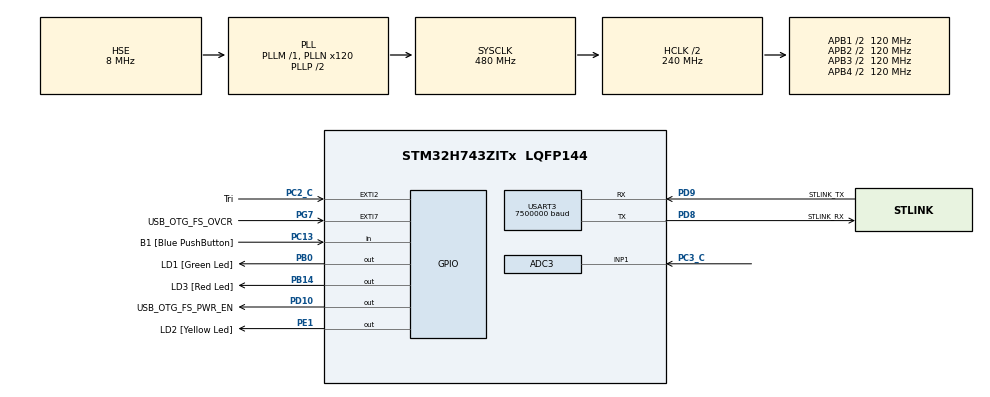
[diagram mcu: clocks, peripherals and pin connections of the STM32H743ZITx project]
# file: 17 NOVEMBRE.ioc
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ADC3.Channel-0\#ChannelRegularConversion=ADC_CHANNEL_1
ADC3.ExternalTrigConv=ADC_EXTERNALTRIG_T6_TRGO
ADC3.NbrOfConversionFlag=1
ADC3.OffsetNumber-0\#ChannelRegularConversion=ADC_OFFSET_NONE
ADC3.OffsetSignedSaturation-0\#ChannelRegularConversion=DISABLE
ADC3.Rank-0\#ChannelRegularConversion=1
ADC3.SamplingTime-0\#ChannelRegularConversion=ADC_SAMPLETIME_1CYCLE_5
Dma.ADC3.0.Direction=DMA_PERIPH_TO_MEMORY
Dma.ADC3.0.EventEnable=DISABLE
Dma.ADC3.0.FIFOMode=DMA_FIFOMODE_DISABLE
Dma.ADC3.0.Instance=DMA2_Stream0
Dma.ADC3.0.MemDataAlignment=DMA_MDATAALIGN_HALFWORD
Dma.ADC3.0.MemInc=DMA_MINC_ENABLE
Dma.ADC3.0.Mode=DMA_NORMAL
Dma.ADC3.0.PeriphDataAlignment=DMA_PDATAALIGN_HALFWORD
Dma.ADC3.0.PeriphInc=DMA_PINC_DISABLE
Dma.ADC3.0.Polarity=HAL_DMAMUX_REQ_GEN_RISING
Dma.ADC3.0.Priority=DMA_PRIORITY_VERY_HIGH
Dma.ADC3.0.RequestNumber=1
Dma.ADC3.0.SignalID=NONE
Dma.ADC3.0.SyncEnable=DISABLE
Dma.ADC3.0.SyncPolarity=HAL_DMAMUX_SYNC_NO_EVENT
Dma.ADC3.0.SyncRequestNumber=1
Dma.ADC3.0.SyncSignalID=NONE
Dma.Request0=ADC3
Dma.Request1=USART3_TX
Dma.USART3_TX.1.Direction=DMA_MEMORY_TO_PERIPH
Dma.USART3_TX.1.EventEnable=DISABLE
Dma.USART3_TX.1.FIFOMode=DMA_FIFOMODE_DISABLE
Dma.USART3_TX.1.Instance=DMA1_Stream3
Dma.USART3_TX.1.MemDataAlignment=DMA_MDATAALIGN_BYTE
Dma.USART3_TX.1.MemInc=DMA_MINC_ENABLE
Dma.USART3_TX.1.Mode=DMA_NORMAL
Dma.USART3_TX.1.PeriphDataAlignment=DMA_PDATAALIGN_BYTE
Dma.USART3_TX.1.PeriphInc=DMA_PINC_DISABLE
Dma.USART3_TX.1.Polarity=HAL_DMAMUX_REQ_GEN_RISING
Dma.USART3_TX.1.Priority=DMA_PRIORITY_LOW
Dma.USART3_TX.1.RequestNumber=1
Dma.USART3_TX.1.SignalID=NONE
Dma.USART3_TX.1.SyncEnable=DISABLE
Dma.USART3_TX.1.SyncPolarity=HAL_DMAMUX_SYNC_NO_EVENT
Dma.USART3_TX.1.SyncRequestNumber=1
Dma.USART3_TX.1.SyncSignalID=NONE
Mcu.Family=STM32H7
Mcu.Name=STM32H743ZITx
Mcu.Package=LQFP144
NVIC.ADC3_IRQn=true\:0\:0\:false\:false\:true\:true\:true
NVIC.DMA1_Stream3_IRQn=true\:0\:0\:false\:false\:true\:false\:true
NVIC.DMA2_Stream0_IRQn=true\:0\:0\:false\:false\:true\:false\:true
NVIC.EXTI2_IRQn=true\:0\:0\:false\:false\:true\:true\:true
NVIC.PriorityGroup=NVIC_PRIORITYGROUP_4
NVIC.TIM6_DAC_IRQn=true\:0\:0\:false\:false\:true\:true\:true
NVIC.USART3_IRQn=true\:0\:0\:false\:false\:true\:true\:true
PA1.Signal=ETH_REF_CLK
PA11.Signal=USB_OTG_FS_DM
PA12.Signal=USB_OTG_FS_DP
PA2.Signal=ETH_MDIO
PA7.Signal=ETH_CRS_DV
PA8.Signal=USB_OTG_FS_SOF
PA9.Signal=USB_OTG_FS_VBUS
PB0.GPIO_Label=LD1 [Green Led]
PB0.Signal=GPIO_Output
PB13.Signal=ETH_TXD1
PB14.GPIO_Label=LD3 [Red Led]
PB14.Signal=GPIO_Output
PC1.Signal=ETH_MDC
PC13.GPIO_Label=B1 [Blue PushButton]
PC13.Signal=GPIO_Input
PC14-OSC32_IN\ (OSC32_IN).Mode=LSE-External-Oscillator
PC14-OSC32_IN\ (OSC32_IN).Signal=RCC_OSC32_IN
PC15-OSC32_OUT\ (OSC32_OUT).Mode=LSE-External-Oscillator
PC15-OSC32_OUT\ (OSC32_OUT).Signal=RCC_OSC32_OUT
PC2_C.GPIO_Label=Tri
PC2_C.Signal=GPXTI2
PC3_C.Mode=IN1-Single-Ended
PC3_C.Signal=ADC3_INP1
PC4.Signal=ETH_RXD0
PC5.Signal=ETH_RXD1
PD10.GPIO_Label=USB_OTG_FS_PWR_EN
PD10.Signal=GPIO_Output
PD8.GPIO_Label=STLINK_RX
PD8.Mode=Asynchronous
PD8.Signal=USART3_TX
PD9.GPIO_Label=STLINK_TX
PD9.Mode=Asynchronous
PD9.Signal=USART3_RX
PE1.GPIO_Label=LD2 [Yellow Led]
PE1.Signal=GPIO_Output
PG11.Signal=ETH_TX_EN
PG13.Signal=ETH_TXD0
PG7.GPIO_Label=USB_OTG_FS_OVCR
PG7.Signal=GPXTI7
PH0-OSC_IN\ (PH0).Mode=HSE-External-Clock-Source
PH0-OSC_IN\ (PH0).Signal=RCC_OSC_IN
PH1-OSC_OUT\ (PH1).Signal=RCC_OSC_OUT
ProjectManager.HeapSize=0x200
ProjectManager.StackSize=0x400
ProjectManager.TargetToolchain=MDK-ARM V5.32
RCC.ADCFreq_Value=75000000
RCC.APB1Freq_Value=120000000
RCC.APB2Freq_Value=120000000
RCC.APB3Freq_Value=120000000
RCC.APB4Freq_Value=120000000
RCC.CortexFreq_Value=480000000
RCC.D1PPRE=RCC_APB3_DIV2
RCC.D2PPRE1=RCC_APB1_DIV2
RCC.D2PPRE2=RCC_APB2_DIV2
RCC.D3PPRE=RCC_APB4_DIV2
RCC.DIVM1=1
RCC.DIVM2=1
RCC.DIVN1=120
RCC.DIVN2=18
RCC.DIVQ1=4
RCC.HCLKFreq_Value=240000000
RCC.HPRE=RCC_HCLK_DIV2
RCC.HSE_VALUE=8000000
RCC.PLL2FRACN=6144
RCC.PLLFRACN=0
RCC.PLLSourceVirtual=RCC_PLLSOURCE_HSE
RCC.PWR_Regulator_Voltage_Scale=PWR_REGULATOR_VOLTAGE_SCALE0
RCC.SYSCLKFreq_VALUE=480000000
RCC.SYSCLKSource=RCC_SYSCLKSOURCE_PLLCLK
RCC.USBFreq_Value=240000000
TIM6.Period=10
TIM6.TIM_MasterOutputTrigger=TIM_TRGO_UPDATE
USART3.BaudRate=7500000
USART3.VirtualMode-Asynchronous=VM_ASYNC
VP_TIM6_VS_ClockSourceINT.Mode=Enable_Timer
board=NUCLEO-H743ZI2

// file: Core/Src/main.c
/* USER CODE BEGIN Header */
/**
  ******************************************************************************
  * @file           : main.c
  * @brief          : Main program body
  ******************************************************************************
  * @attention
  *
  * <h2><center>&copy; Copyright (c) 2021 STMicroelectronics.
  * All rights reserved.</center></h2>
  *
  * This software component is licensed by ST under BSD 3-Clause license,
  * the "License"; You may not use this file except in compliance with the
  * License. You may obtain a copy of the License at:
  *                        opensource.org/licenses/BSD-3-Clause
  *
  ******************************************************************************
  */
/* USER CODE END Header */
#include "main.h"
#include "adc.h"
#include "dma.h"
#include "tim.h"
#include "usart.h"
#include "gpio.h"

void SystemClock_Config(void);

/* USER CODE BEGIN 0 */

/*int ts_data[50];															// VETTORE CHE MEMORIZZA I CODICI MISURATI DAL MICRO
#define TCAL1 *(uint16_t*)(0x1FF1E820)				// COSTANTE MISURATA IN FABBRICA A T=30°C
#define TCAL2 *(uint16_t*)(0x1FF1E840)				// COSTANTE MISURATA IN FABBRICA A T=110°C
int temperatura_mC[50];												// VETTORE CHE CONTIENE I DATI CONVERTITI IN TEMPERATURE IN GRADI °C

#define VREFINT_C *(uint16_t*)(0x1FF1E860)		// CODICE PRECISIO MISURATO IN FABBRICA A T=30°C, VDDA=3.3V
#define VREF_PRECISA 3300											// COSTANTE = 3300mV
int v_ref_cal[50];														// VETTORE CHE CONTIENE LE ALIMENTAZIONI REALE CHE IL MICRO RICEVE ~3,3V
int codici[50];																// VETTORE CHE CONTIENE I CODICI MISURATI DAL MICRO; NUMERO PROPORZIONALE ALLA TENSIONE
int tensione_milliV[50];											// VETTORE CHE CONTIENE LA TENSIONE INTERNA IN MILLIVOLT (RISULTATO DELLA CONVERSIONE DEI CODICI)
*/
int  n_mis = 100;																// NNUMERO DI VOLTE CHE RIPETIAMO LE MISURE
volatile int indice = 0;											// INIZIALIZZAZIONE DELL'INDICE
int soglia =20000;
uint16_t salvataggio;
volatile uint16_t DMA_ADC_vett[101];								// DICHIARIAMO IL VETTORE IN CUI MEMORIZZIAMO I DATI PER LA DMA

//int c1 =
uint16_t posizione = 0;
volatile uint16_t soglia_sup = 0;
volatile uint16_t pre_trigger=10;
volatile  uint16_t post_trigger=90;
uint8_t *puntatore;
//PER TRASMISSIONE A MATLAB
//uint8_t *puntatore_temp;
//uint8_t *puntatore_mvolt;
/*
#define TCAL1 *(uint16_t*)(0x1FF1E820)				// COSTANTE MISURATA IN FABBRICA A T=30°C
#define TCAL2 *(uint16_t*)(0x1FF1E840)				// COSTANTE MISURATA IN FABBRICA A T=110°C
uint16_t a = 0;
uint16_t b = 0;
*/
uint8_t* puntatore_c1;
uint8_t* puntatore_c2;

/* USER CODE END 0 */

int main(void)
{

  /* MCU Configuration--------------------------------------------------------*/

  /* Reset of all peripherals, Initializes the Flash interface and the Systick. */
  HAL_Init();

  /* Configure the system clock */
  SystemClock_Config();

  /* Initialize all configured peripherals */
  MX_GPIO_Init();
  MX_DMA_Init();
  MX_ADC3_Init();
  MX_TIM6_Init();
  MX_USART3_UART_Init();
  /* USER CODE BEGIN 2 */

	//PER LA TRASMISSIONE A MATLAB  -  ATTIVAZIONE DI TRASMISSIOE E RICEZIONE DELLA USART3
	USART3->CR1 |= USART_CR1_TE;			//BISOGNA METTERE OR PERCHE' COSI' VIENE MODIFICATO SOLO IL PIN DI TE IN CR1
	USART3->CR1 |= USART_CR1_RE;			//ALTRIMENTI VENGONO MESSI TUTTI A ZERO E UNO SU TE
	USART3->CR1 |= USART_CR1_UE;
	USART3->CR1 |= USART_CR1_RXNEIE;
//	USART3->CR1 |= USART_CR1_TCIE;

	//puntatore_temp = (uint8_t*) temperatura_mC;					// ASSEGNIAMO AI PUNTATORI L'INDIRIZZO DEI VETTORI
	//puntatore_mvolt = (uint8_t*) tensione_milliV;

	//PER L'ADC
//TEMPERATURA TENSIONE
/*	ADC3->SQR1 |= (18 << ADC_SQR1_SQ1_Pos) | (19 << ADC_SQR1_SQ2_Pos);		//INDICHIAMO QUALE CANALE (19, 18) VOGLIAMO LEGGERE IN QUALE REGISTRO (SQ1, SQ2)
	ADC3->SQR1 |= (1 << ADC_SQR1_L_Pos);																	//INDICHIAMO, NEL CAMPO L DI SQR1, IL NUMERO DI NODI CHE IL MICROCONTROLLORE DEVE LEGGERE (2)
	ADC3->PCSEL |= ADC_PCSEL_PCSEL_19 | ADC_PCSEL_PCSEL_18;								//INDICHIAMO QUALI CANALI STIAMO LEGGENDO NEL REGISTRO PCSEL (19 E 18)
	ADC3_COMMON->CCR |= 8<<ADC_CCR_PRESC_Pos;
*/
//OSCILLOSCOPIO
	ADC3->SQR1 = 0;
	ADC3->SQR1 |= (1 << ADC_SQR1_SQ1_Pos);
	ADC3->SQR1 |= (0 << ADC_SQR1_L_Pos);
	ADC3->PCSEL |= ADC_PCSEL_PCSEL_0;
	ADC3_COMMON->CCR |= 0<<ADC_CCR_PRESC_Pos;
	ADC3->CFGR |= (3<<ADC_CFGR_DMNGT_Pos);			//INIZIA L'ATTIVITA' DELL'ADC E PASSA I DATI AL DMA; 3 PER IL BUFFER CIRCOLARE, 1  PER MODALITA' NORMALE

	//CALIBRAZIONE E ATTIVAZIONE DELL'ADC
	ADC3->CR &= ~ADC_CR_ADCALDIF;			//ADCALDIF = 0 PER MISURA ENDED, ADCALDIF = 1 PER MISURA DIFFERENZIALE
	ADC3->CR |= ADC_CR_ADCALLIN;			//ADCALLIN = 1 PER AVERE CALIBRAZIONE LINEARE OLTRE CHE OFFSET, = 0 SE NON LA SI VUOLE. CONSIGLIATO 1
	ADC3->CR &= ~ADC_CR_ADEN;					//CON ADEN = 0 L'ADC NON E' ABILITATO
	ADC3->CR |= ADC_CR_ADCAL;					//ADCAL = 1 INIZIA LA CALIBRAZIONE, DIVENTA 0 QUANDO LA CALIBRAZIONE E' TERMINATA

	//ADC3_COMMON->CCR |= ADC_CCR_TSEN;  	  //ATTIVIAMO IL SENSORE DI TEMPERATURA
	//ADC3_COMMON->CCR |= ADC_CCR_VREFEN;		//ATTIVIAMO IL SENSORE DELLA VEREF_IN

	while ((ADC3->CR & ADC_CR_ADCAL)){		//FINCHE' SI STA CALIBRANDO
			//ASPETTA
	}

	ADC3->ISR |= ADC_ISR_ADRDY;				//AZZERIAMO IL BIT ADRDY SCRIVENDOGLI 1
	if ((ADC3->CR & ADC_CR_ADCAL) == 0){
				ADC3->CR |= ADC_CR_ADEN;				//ABILITA L'ADC
	}
	while ((ADC3->ISR & ADC_ISR_ADRDY) == 0){    //FINCHE' ADRDY == 0			ADC3->ISR & ADC_ISR_ADRDY = 1 SE IL BIT E' 1, = 0 SE IL BIT E' 0
			//ASPETTA
	}
	ADC3->ISR |= ADC_ISR_ADRDY;

	// ATTIVAZIONE DELL'INTERRUPT
//	ADC3->IER = ADC_IER_EOCIE;				//ABILITIAMO L'INTERRUPT
	ADC3->IER = ADC_IER_EOCIE;

	//IMPOSTARE TEMPI DI ACQUISIZIONE LUNGHI IN SMPR1 E SMPR2
//	ADC3->SMPR1 |= ADC_SMPR1_SMP1_0;			//IMPOSTIAMO SMP1 = 111, CIOE' RALLENTIAMO LA MISURA DI X CICLI DI CLOCK DELL'ADC
//	ADC3->SMPR1 |= ADC_SMPR1_SMP1_1;
//	ADC3->SMPR1 |= ADC_SMPR1_SMP1_2;

	/*for(int i=0; i<n_mis; i++){						// INIZIALIZZIAMO A ZERO TUTTI GLI ELEMENTI DELL'ARRAY
				ts_data[i] = 0;
				codici[i] = 0;
		}
	*/

	///////// UNA VOLTA CHE L'ADC E' CALIBRATO, ACCESO E IMPOSTATO
	//	IMPOSTO IL DMA DELL'ADC

	DMA2_Stream0->M0AR = (uint32_t) &DMA_ADC_vett;				// ASSEGNIAMO AL DMA DELL'ADC L'INDIRIZZO DELLA PRIMA CELLA DEL VETTORE IN CUI SONO MEMORIZZATI I DATI
	DMA2_Stream0->PAR = (uint32_t) (&ADC3->DR);						// ASSEGNIAMO AL DMA L'INDIRIZZO DI USART3->TDR, CIOE' QUELLO DOVE DEVE TRASMETTERE
	DMA2_Stream0->CR |= DMA_SxCR_CIRC;
	//DMA2_Stream0->CR |= DMA_SxCR_TCIE;										// ABILITIAMO L'INTERRUPT

	uint16_t num_mis_adc = n_mis;															//NUMERO DI MISURE CHE VOGLIAMO FAR FARE ALL'ADC

	//	IMPOSTO IL DMA DELL'UART
	DMA1_Stream3->M0AR = (uint32_t) &DMA_ADC_vett;				// ASSEGNIAMO AL DMA DELL'UART L'INDIRIZZO DELLA PRIMA CELLA DEL VETTORE IN CUI SONO MEMORIZZATI I DATI
	DMA1_Stream3->PAR = (uint32_t) &USART3->TDR;					// ASSEGNIAMO AL DMA L'INDIRIZZO DI ADC3->DR, CIOE' QUELLO DA DOVE RICEVERA' DATI
//  DMA1_Stream3->CR |= DMA_SxCR_TCIE;										// ABILITIAMO L'INTERRUPT
DMA1_Stream3->CR &= ~DMA_SxCR_EN ;
//	DMA1_Stream3->NDTR = num_mis_adc * 2;									// DICIAMO AL DMA IL NUMERO DI BYTE CHE DOVRA' TRASFERIRE ALL'USART

	//PARTE MISURA ADC
/*	DMA2_Stream0->CR |= DMA_SxCR_CIRC;
	DMA2_Stream0->NDTR = n_mis;									//DICIAMO AL DMA IL NUMERO DI MISURE CHE VENGONO FATTE DALL'ADC
	DMA2_Stream0->CR |= DMA_SxCR_EN; 						//ACCENDE IL DMA
	ADC3->CFGR |= (3<<ADC_CFGR_DMNGT_Pos);			//INIZIA L'ATTIVITA' DELL'ADC E PASSA I DATI AL DMA; 3 PER IL BUFFER CIRCOLARE, 1  PER MODALITA' NORMALE

	TIM6->ARR = 1;
	ADC3->CR |= ADC_CR_ADSTART;			//PARTE LA MISURA
	TIM6->CR1 |= TIM_CR1_CEN;			  //ACCENDIAMO IL TIMER
*/
	//PER TRASMISSIONE A MATLAB
	//a = TCAL1;
	//b = TCAL2;
	//puntatore_c1 = (uint8_t*) 0x1FF1E820;
	//puntatore_c2 = (uint8_t*) 0x1FF1E840;

	puntatore = (uint8_t*) &posizione;

  /* USER CODE END 2 */

  /* Infinite loop */
  /* USER CODE BEGIN WHILE */
  while (1)
  {
		//if(indice==n_mis){

		//SPEGNIMENTO TIMER
		//TIM6->CR1	&= ~TIM_CR1_CEN;   //SPEGNIAMO IL TIMER

		// ELABORAZIONE TEMPERATURA
			/*	for (int i=0; i<n_mis; i++){
						if(ts_data[i] > TCAL1){
								temperatura_mC[i] = ( (80000 * (ts_data[i] - TCAL1)) / (TCAL2 - TCAL1) ) + 30000;
						}
						else {
								temperatura_mC[i] = 30000 - ( (80000 *(TCAL1 - ts_data[i])) / (TCAL2 - TCAL1));
						}
				}

				// ELABORAZIONE SEGNALE
				for(int i=0; i<n_mis; i++){
						v_ref_cal[i] = (VREFINT_C * VREF_PRECISA)/ codici[i];			//CALCOLO LA TENSIONE REALE FORNITA AL MICRO PER OGNI MISURA
						tensione_milliV[i] = (VREF_PRECISA * codici[i])/65536;		//CONVERTO IL CODICE LETTO DAL MICRO IN UNA TENSIONE IN MILLIVOLT
				}
				indice = 100;*/
		//}

    /* USER CODE END WHILE */

  }
}

void SystemClock_Config(void)
{
  RCC_OscInitTypeDef RCC_OscInitStruct = {0};
  RCC_ClkInitTypeDef RCC_ClkInitStruct = {0};

  /** Supply configuration update enable
  */
  HAL_PWREx_ConfigSupply(PWR_LDO_SUPPLY);
  /** Configure the main internal regulator output voltage
  */
  __HAL_PWR_VOLTAGESCALING_CONFIG(PWR_REGULATOR_VOLTAGE_SCALE0);

  while(!__HAL_PWR_GET_FLAG(PWR_FLAG_VOSRDY)) {}
  /** Macro to configure the PLL clock source
  */
  __HAL_RCC_PLL_PLLSOURCE_CONFIG(RCC_PLLSOURCE_HSE);
  /** Initializes the RCC Oscillators according to the specified parameters
  * in the RCC_OscInitTypeDef structure.
  */
  RCC_OscInitStruct.OscillatorType = RCC_OSCILLATORTYPE_HSE;
  RCC_OscInitStruct.HSEState = RCC_HSE_BYPASS;
  RCC_OscInitStruct.PLL.PLLState = RCC_PLL_ON;
  RCC_OscInitStruct.PLL.PLLSource = RCC_PLLSOURCE_HSE;
  RCC_OscInitStruct.PLL.PLLM = 1;
  RCC_OscInitStruct.PLL.PLLN = 120;
  RCC_OscInitStruct.PLL.PLLP = 2;
  RCC_OscInitStruct.PLL.PLLQ = 4;
  RCC_OscInitStruct.PLL.PLLR = 2;
  RCC_OscInitStruct.PLL.PLLRGE = RCC_PLL1VCIRANGE_3;
  RCC_OscInitStruct.PLL.PLLVCOSEL = RCC_PLL1VCOWIDE;
  RCC_OscInitStruct.PLL.PLLFRACN = 0;
  if (HAL_RCC_OscConfig(&RCC_OscInitStruct) != HAL_OK)
  {
    Error_Handler();
  }
  /** Initializes the CPU, AHB and APB buses clocks
  */
  RCC_ClkInitStruct.ClockType = RCC_CLOCKTYPE_HCLK|RCC_CLOCKTYPE_SYSCLK
                              |RCC_CLOCKTYPE_PCLK1|RCC_CLOCKTYPE_PCLK2
                              |RCC_CLOCKTYPE_D3PCLK1|RCC_CLOCKTYPE_D1PCLK1;
  RCC_ClkInitStruct.SYSCLKSource = RCC_SYSCLKSOURCE_PLLCLK;
  RCC_ClkInitStruct.SYSCLKDivider = RCC_SYSCLK_DIV1;
  RCC_ClkInitStruct.AHBCLKDivider = RCC_HCLK_DIV2;
  RCC_ClkInitStruct.APB3CLKDivider = RCC_APB3_DIV2;
  RCC_ClkInitStruct.APB1CLKDivider = RCC_APB1_DIV2;
  RCC_ClkInitStruct.APB2CLKDivider = RCC_APB2_DIV2;
  RCC_ClkInitStruct.APB4CLKDivider = RCC_APB4_DIV2;

  if (HAL_RCC_ClockConfig(&RCC_ClkInitStruct, FLASH_LATENCY_4) != HAL_OK)
  {
    Error_Handler();
  }
}

void Error_Handler(void)
{
  __disable_irq();
  while (1)
  {
  }
}

/************************ (C) COPYRIGHT STMicroelectronics *****END OF FILE****/
